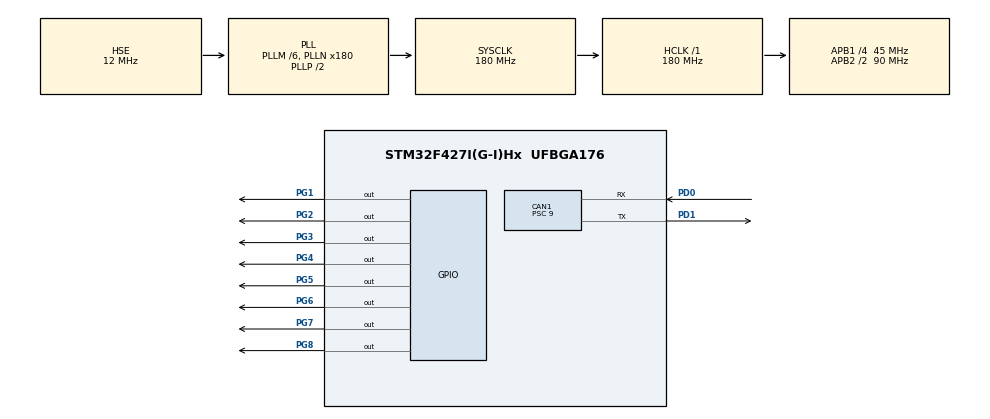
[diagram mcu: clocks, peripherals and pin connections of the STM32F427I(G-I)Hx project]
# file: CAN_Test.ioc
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CAN1.ABOM=ENABLE
CAN1.BS1=CAN_BS1_2TQ
CAN1.BS2=CAN_BS2_2TQ
CAN1.CalculateBaudRate=1000000
CAN1.CalculateTimeBit=1000
CAN1.CalculateTimeQuantum=200.0
CAN1.NART=ENABLE
CAN1.Prescaler=9
Mcu.Family=STM32F4
Mcu.Name=STM32F427I(G-I)Hx
Mcu.Package=UFBGA176
NVIC.CAN1_RX0_IRQn=true\:0\:0\:false\:false\:true\:true\:true\:true
NVIC.CAN1_RX1_IRQn=true\:0\:0\:false\:false\:true\:true\:true\:true
NVIC.PriorityGroup=NVIC_PRIORITYGROUP_4
PA13.Mode=Serial_Wire
PA13.Signal=SYS_JTMS-SWDIO
PA14.Mode=Serial_Wire
PA14.Signal=SYS_JTCK-SWCLK
PD0.Mode=CAN_Activate
PD0.Signal=CAN1_RX
PD1.Mode=CAN_Activate
PD1.Signal=CAN1_TX
PG1.GPIO_ModeDefaultOutputPP=GPIO_MODE_OUTPUT_PP
PG1.GPIO_PuPd=GPIO_NOPULL
PG1.PinState=GPIO_PIN_SET
PG1.Signal=GPIO_Output
PG2.GPIO_ModeDefaultOutputPP=GPIO_MODE_OUTPUT_PP
PG2.GPIO_PuPd=GPIO_NOPULL
PG2.PinState=GPIO_PIN_SET
PG2.Signal=GPIO_Output
PG3.GPIO_ModeDefaultOutputPP=GPIO_MODE_OUTPUT_PP
PG3.GPIO_PuPd=GPIO_NOPULL
PG3.PinState=GPIO_PIN_SET
PG3.Signal=GPIO_Output
PG4.GPIO_ModeDefaultOutputPP=GPIO_MODE_OUTPUT_PP
PG4.GPIO_PuPd=GPIO_NOPULL
PG4.PinState=GPIO_PIN_SET
PG4.Signal=GPIO_Output
PG5.GPIO_ModeDefaultOutputPP=GPIO_MODE_OUTPUT_PP
PG5.GPIO_PuPd=GPIO_NOPULL
PG5.PinState=GPIO_PIN_SET
PG5.Signal=GPIO_Output
PG6.GPIO_ModeDefaultOutputPP=GPIO_MODE_OUTPUT_PP
PG6.GPIO_PuPd=GPIO_NOPULL
PG6.PinState=GPIO_PIN_SET
PG6.Signal=GPIO_Output
PG7.GPIO_ModeDefaultOutputPP=GPIO_MODE_OUTPUT_PP
PG7.GPIO_PuPd=GPIO_NOPULL
PG7.PinState=GPIO_PIN_SET
PG7.Signal=GPIO_Output
PG8.GPIO_ModeDefaultOutputPP=GPIO_MODE_OUTPUT_PP
PG8.GPIO_PuPd=GPIO_NOPULL
PG8.PinState=GPIO_PIN_SET
PG8.Signal=GPIO_Output
PH0/OSC_IN.Mode=HSE-External-Oscillator
PH0/OSC_IN.Signal=RCC_OSC_IN
PH1/OSC_OUT.Mode=HSE-External-Oscillator
PH1/OSC_OUT.Signal=RCC_OSC_OUT
ProjectManager.HeapSize=0x200
ProjectManager.StackSize=0x400
ProjectManager.TargetToolchain=MDK-ARM V5.32
RCC.48MHZClocksFreq_Value=90000000
RCC.AHBFreq_Value=180000000
RCC.APB1CLKDivider=RCC_HCLK_DIV4
RCC.APB1Freq_Value=45000000
RCC.APB1TimFreq_Value=90000000
RCC.APB2CLKDivider=RCC_HCLK_DIV2
RCC.APB2Freq_Value=90000000
RCC.APB2TimFreq_Value=180000000
RCC.CortexFreq_Value=180000000
RCC.HCLKFreq_Value=180000000
RCC.HSE_VALUE=12000000
RCC.HSI_VALUE=16000000
RCC.LSE_VALUE=32768
RCC.PLLM=6
RCC.PLLN=180
RCC.PLLSourceVirtual=RCC_PLLSOURCE_HSE
RCC.SYSCLKFreq_VALUE=180000000
RCC.SYSCLKSource=RCC_SYSCLKSOURCE_PLLCLK
RCC.VCOOutputFreq_Value=360000000
board=custom

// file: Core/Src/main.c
/* USER CODE BEGIN Header */
/**
  ******************************************************************************
  * @file           : main.c
  * @brief          : Main program body
  ******************************************************************************
  * @attention
  *
  * Copyright (c) 2026 STMicroelectronics.
  * All rights reserved.
  *
  * This software is licensed under terms that can be found in the LICENSE file
  * in the root directory of this software component.
  * If no LICENSE file comes with this software, it is provided AS-IS.
  *
  ******************************************************************************
  */
/* USER CODE END Header */
#include "main.h"
#include "can.h"
#include "gpio.h"

/* USER CODE BEGIN PD */
#define CAN_FILTER(x) ((x) << 3)

#define CAN_FIFO_0 (0 << 2)
#define CAN_FIFO_1 (1 << 2)

#define CAN_STDID (0 << 1)
#define CAN_EXTID (1 << 1)

#define CAN_DATA_TYPE (0 << 0)
#define CAN_REMOTE_TYPE (1 << 0)
#define CAN_DATA_FRAME CAN_DATA_TYPE

/* USER CODE END PD */

void SystemClock_Config(void);

/* USER CODE BEGIN 0 */

/**
  * @brief  初始化CAN通信
  * @param  hcan: CAN句柄指针
  * @retval None
  */
void CAN_Init(CAN_HandleTypeDef *hcan)
{
  HAL_CAN_Start(hcan);                                            /* 启动CAN控制器 */
  __HAL_CAN_ENABLE_IT(hcan, CAN_IT_RX_FIFO0_MSG_PENDING);            /* 使能CAN FIFO0消息挂起中断 */
  __HAL_CAN_ENABLE_IT(hcan, CAN_IT_RX_FIFO1_MSG_PENDING);            /* 使能CAN FIFO1消息挂起中断 */
}

/**
  * @brief  配置CAN过滤器（掩码模式）
  * @param  hcan: CAN句柄指针
  * @param  Object_Para: 过滤器配置参数（bit0:保留, bit1:模式错误标志, bit2:FIFO选择, bit3-7:过滤器编号）
  * @param  ID: 过滤器ID（11位标准ID）
  * @param  Mask: 过滤器掩码（11位）
  * @retval None
  */
void CAN_Filter_Mask_Config(CAN_HandleTypeDef *hcan, uint8_t Object_Para, uint32_t ID, uint32_t Mask)
{
  CAN_FilterTypeDef can_filter_init_config;                       /* CAN过滤器初始化配置结构体 */

  if(Object_Para & 0x01)                                         /* 检查过滤器编号是否有效 */
  {
    return;                                                       /* 过滤器编号错误，直接返回 */
  }
  if((Object_Para & 0x02) >> 1)                                  /* 检查过滤器模式是否正确 */
  {
    return; /* 过滤器模式错误，直接返回 */
  }
  /* 设置过滤器ID */
  can_filter_init_config.FilterIdHigh = (ID & 0x7FF) << 5;       /* 将11位ID左移5位存入高16位 */
  can_filter_init_config.FilterIdLow = 0x0000;                   /* 低16位清零 */

  /* 设置过滤器掩码 */
  can_filter_init_config.FilterMaskIdHigh = (Mask & 0x7FF) << 5; /* 将11位掩码左移5位存入高16位 */
  can_filter_init_config.FilterMaskIdLow = 0x0000;               /* 低16位清零 */

  /* 配置过滤器参数 */
  can_filter_init_config.FilterBank = (Object_Para >> 3) & 0x1F; /* 从Object_Para提取过滤器编号(bit3-7) */
  can_filter_init_config.FilterMode = CAN_FILTERMODE_IDMASK;       /* 设置为掩码模式 */
  can_filter_init_config.FilterScale = CAN_FILTERSCALE_32BIT;     /* 设置为32位过滤器 */
  can_filter_init_config.FilterActivation = ENABLE;               /* 使能过滤器 */

  can_filter_init_config.SlaveStartFilterBank = 14;               /* 设置从机过滤器起始编号为14 */

  can_filter_init_config.FilterFIFOAssignment = (Object_Para >> 2) & 0x01; /* 分配过滤器到FIFO0或FIFO1 */

  HAL_CAN_ConfigFilter(hcan, &can_filter_init_config);            /* 应用过滤器配置 */
}

/**
  * @brief  发送CAN数据帧
  * @param  hcan: CAN句柄指针
  * @param  ID: 消息ID（11位标准ID）
  * @param  Data: 指向发送数据缓冲区的指针
  * @param  Length: 发送数据长度（0-8字节）
  * @retval HAL状态码（HAL_OK表示成功，其他表示失败）
  */
uint8_t CAN_Send_Data(CAN_HandleTypeDef *hcan, uint16_t ID, uint8_t *Data, uint16_t Length)
{
  CAN_TxHeaderTypeDef tx_header;                                  /* CAN发送消息头结构体 */
  uint32_t mailbox;                                              /* 存储分配的发送邮箱 */

  tx_header.StdId = ID;                                          /* 设置标准ID */
  tx_header.ExtId = 0;                                           /* 扩展ID清零（不使用） */
  tx_header.IDE = CAN_ID_STD;                                    /* 设置为标准ID格式 */
  tx_header.RTR = CAN_RTR_DATA;                                  /* 设置为数据帧 */
  tx_header.DLC = Length;                                         /* 设置数据长度 */

  return (HAL_CAN_AddTxMessage(hcan, &tx_header, Data, &mailbox)); /* 添加消息到发送邮箱并返回状态 */
}
/* USER CODE END 0 */

int main(void)
{

  /* MCU Configuration--------------------------------------------------------*/

  /* Reset of all peripherals, Initializes the Flash interface and the Systick. */
  HAL_Init();

  /* Configure the system clock */
  SystemClock_Config();

  /* Initialize all configured peripherals */
  MX_GPIO_Init();
  MX_CAN1_Init();
  /* USER CODE BEGIN 2 */

  CAN_Init(&hcan1);
  CAN_Filter_Mask_Config(&hcan1, CAN_FILTER(0) | CAN_FIFO_1 | CAN_STDID | CAN_DATA_FRAME, 0x123, 0x7FF);
  CAN_Send_Data(&hcan1, 0x123, (uint8_t *)"Hello", 5);

  /* USER CODE END 2 */

  /* Infinite loop */
  while (1)
  {

  }
}

void SystemClock_Config(void)
{
  RCC_OscInitTypeDef RCC_OscInitStruct = {0};
  RCC_ClkInitTypeDef RCC_ClkInitStruct = {0};

  /** Configure the main internal regulator output voltage
  */
  __HAL_RCC_PWR_CLK_ENABLE();
  __HAL_PWR_VOLTAGESCALING_CONFIG(PWR_REGULATOR_VOLTAGE_SCALE1);

  /** Initializes the RCC Oscillators according to the specified parameters
  * in the RCC_OscInitTypeDef structure.
  */
  RCC_OscInitStruct.OscillatorType = RCC_OSCILLATORTYPE_HSE;
  RCC_OscInitStruct.HSEState = RCC_HSE_ON;
  RCC_OscInitStruct.PLL.PLLState = RCC_PLL_ON;
  RCC_OscInitStruct.PLL.PLLSource = RCC_PLLSOURCE_HSE;
  RCC_OscInitStruct.PLL.PLLM = 6;
  RCC_OscInitStruct.PLL.PLLN = 180;
  RCC_OscInitStruct.PLL.PLLP = RCC_PLLP_DIV2;
  RCC_OscInitStruct.PLL.PLLQ = 4;
  if (HAL_RCC_OscConfig(&RCC_OscInitStruct) != HAL_OK)
  {
    Error_Handler();
  }

  /** Activate the Over-Drive mode
  */
  if (HAL_PWREx_EnableOverDrive() != HAL_OK)
  {
    Error_Handler();
  }

  /** Initializes the CPU, AHB and APB buses clocks
  */
  RCC_ClkInitStruct.ClockType = RCC_CLOCKTYPE_HCLK|RCC_CLOCKTYPE_SYSCLK
                              |RCC_CLOCKTYPE_PCLK1|RCC_CLOCKTYPE_PCLK2;
  RCC_ClkInitStruct.SYSCLKSource = RCC_SYSCLKSOURCE_PLLCLK;
  RCC_ClkInitStruct.AHBCLKDivider = RCC_HCLK_DIV1;
  RCC_ClkInitStruct.APB1CLKDivider = RCC_HCLK_DIV4;
  RCC_ClkInitStruct.APB2CLKDivider = RCC_HCLK_DIV2;

  if (HAL_RCC_ClockConfig(&RCC_ClkInitStruct, FLASH_LATENCY_5) != HAL_OK)
  {
    Error_Handler();
  }
}

/* USER CODE BEGIN 4 */

/**
  * @brief  CAN FIFO1消息挂起回调函数
  * @note   当CAN FIFO1中有新消息时，HAL库会调用此函数
  * @param  hcan: CAN句柄指针
  * @retval None
  */
void HAL_CAN_RxFifo1MsgPendingCallback(CAN_HandleTypeDef *hcan)
{
  CAN_RxHeaderTypeDef rx_header;                                  /* CAN接收消息头结构体 */
  uint8_t data[8];                                                /* 接收数据缓冲区（最多8字节） */

  HAL_CAN_GetRxMessage(hcan, CAN_RX_FIFO1, &rx_header, data);    /* 从FIFO1读取消息 */
}

/* USER CODE END 4 */

void Error_Handler(void)
{
  __disable_irq();
  while (1)
  {
  }
}
